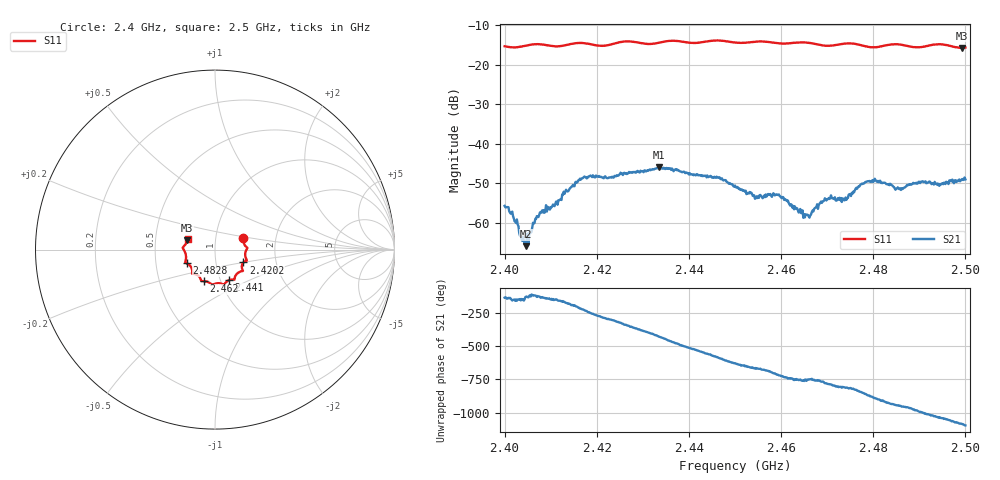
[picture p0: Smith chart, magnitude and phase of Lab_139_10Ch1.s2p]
# Hz S RI R 50
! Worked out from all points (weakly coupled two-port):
!   601 points, 2.4 GHz to 2.5 GHz, reference 50 ohm
!   highest |S21| = -46.01 dB at 2.4335 GHz (marker M1); lowest = -66.0 dB at 2.4047 GHz (marker M2)
!   lowest |S11| = -15.8 dB at 2.4993 GHz (marker M3), VSWR 1.39, Z = 36.5 + j3.87 ohm
!   |S11| at or under -10 dB: start of sweep to end of sweep
!   S12 and S22 are empty: the file has one direction only
!   S11 on the Smith chart (normalised r, x): 2.4 GHz: 1.36, +0.18; 2.4202 GHz: 1.36, -0.20; 2.441 GHz: 1.10, -0.39; 2.462 GHz: 0.84, -0.30; 2.4828 GHz: 0.72, -0.11; 2.5 GHz: 0.73, +0.09
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2.4e9  0.1583 0.0624  -0.00119 -0.00112  0 0  0 0
2.404667e9  0.1731 0.0158  -0.000321 -0.000388  0 0  0 0
2.4075e9  0.1804 0.00815  -0.00077 -0.000979  0 0  0 0
2.416667e9  0.1773 -0.0607  -0.00267 0.00243  0 0  0 0
2.420167e9  0.1583 -0.0713  0.000146 0.00382  0 0  0 0
2.433333e9  0.1117 -0.151  0.00198 -0.00445  0 0  0 0
2.4335e9  0.1112 -0.1525  0.00177 -0.00468  0 0  0 0
2.441e9  0.0783 -0.1701  -0.00379 -0.00121  0 0  0 0
2.45e9  0.0282 -0.1875  -0.000127 0.00294  0 0  0 0
2.454667e9  -0.011 -0.1946  0.00137 0.00166  0 0  0 0
2.459333e9  -0.0354 -0.1822  0.00224 0.000209  0 0  0 0
2.462e9  -0.0608 -0.1757  0.0015 -0.000673  0 0  0 0
2.465333e9  -0.0771 -0.1735  0.0011 -0.000638  0 0  0 0
2.466667e9  -0.0787 -0.1679  0.00123 -0.000573  0 0  0 0
2.469167e9  -0.0888 -0.1496  0.00126 -0.00138  0 0  0 0
2.474e9  -0.1255 -0.135  -0.000101 -0.00208  0 0  0 0
2.478667e9  -0.1286 -0.1083  -0.00277 -0.00182  0 0  0 0
2.482833e9  -0.1575 -0.0767  -0.00287 0.00107  0 0  0 0
2.483333e9  -0.1605 -0.0752  -0.00275 0.00138  0 0  0 0
2.486e9  -0.1653 -0.067  -0.00169 0.00196  0 0  0 0
2.499333e9  -0.154 0.0516  0.00355 -0.000303  0 0  0 0
2.5e9  -0.1524 0.0612  0.0034 -0.000903  0 0  0 0
